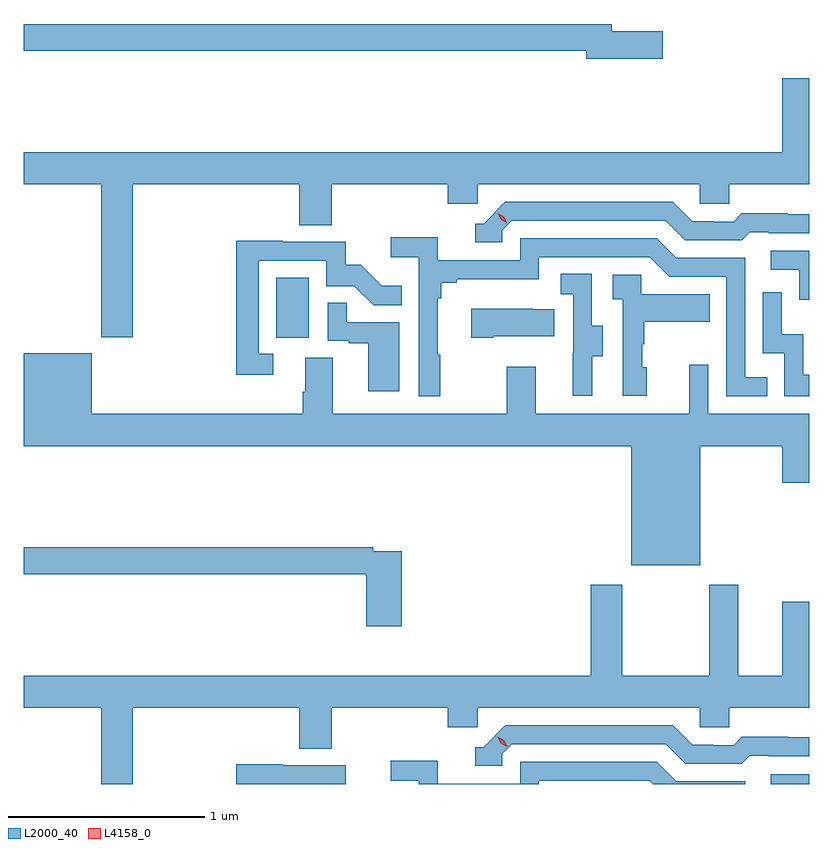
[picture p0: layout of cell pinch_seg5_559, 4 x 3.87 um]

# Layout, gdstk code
import gdstk
lib = gdstk.Library(unit=1e-6, precision=1e-09)
def R(c, l, rs):  # rectangles x0, y0, x1, y1
    for r in rs: c.add(gdstk.rectangle(r[:2], r[2:], *l))
def P(c, l, *ps):  # polygons
    for p in ps: c.add(gdstk.Polygon(p, *l))
L2000_40 = (2000, 40)
L4158_0 = (4158, 0)

pinch_seg5_559 = lib.new_cell('pinch_seg5_559')
R(pinch_seg5_559, L2000_40, [(1004.109,833.728,1004.307,833.778), (1001.594,835.998,1001.758,836.305)])
P(pinch_seg5_559, L2000_40, [(1003.561,837.56),(1003.3,837.56),(1003.3,837.596),(1000.307,837.596),(1000.307,837.46),(1003.172,837.46),(1003.172,837.418),(1003.561,837.418)],
  [(1000.862,836.78),(1001.711,836.78),(1001.711,836.572),(1001.876,836.572),(1001.876,836.78),(1002.467,836.78),(1002.467,836.682),(1002.618,836.682),(1002.618,836.78),(1003.749,836.78),(1003.749,836.682),(1003.899,836.682),(1003.899,836.78),(1004.307,836.78),(1004.307,837.319),(1004.168,837.319),(1004.168,836.944),(1000.307,836.944),(1000.307,836.78),(1000.702,836.78),(1000.702,836.001),(1000.862,836.001)],
  [(1002.744,836.547),(1002.792,836.595),(1003.575,836.595),(1003.674,836.496),(1003.963,836.496),(1004.002,836.535),(1004.101,836.535),(1004.101,836.532),(1004.307,836.532),(1004.307,836.629),(1004.196,836.629),(1004.196,836.632),(1003.963,836.632),(1003.921,836.589),(1003.818,836.589),(1003.818,836.592),(1003.711,836.592),(1003.612,836.691),(1002.759,836.691),(1002.648,836.58),(1002.605,836.58),(1002.605,836.484),(1002.744,836.484)],
  [(1002.427,835.913),(1002.415,835.913),(1002.415,836.201),(1002.434,836.201),(1002.434,836.278),(1002.511,836.278),(1002.511,836.297),(1002.93,836.297),(1002.93,836.409),(1003.494,836.409),(1003.593,836.31),(1003.884,836.31),(1003.884,835.701),(1004.093,835.701),(1004.093,835.797),(1003.98,835.797),(1003.98,836.406),(1003.63,836.406),(1003.531,836.505),(1002.834,836.505),(1002.834,836.394),(1002.416,836.394),(1002.416,836.51),(1002.177,836.51),(1002.177,836.408),(1002.318,836.408),(1002.318,835.701),(1002.427,835.701)],
  [(1001.578,835.917),(1001.505,835.917),(1001.505,836.391),(1001.847,836.391),(1001.847,836.262),(1001.991,836.262),(1002.089,836.164),(1002.233,836.164),(1002.233,836.263),(1002.129,836.263),(1002.022,836.37),(1001.946,836.37),(1001.946,836.487),(1001.627,836.487),(1001.627,836.492),(1001.389,836.492),(1001.389,835.812),(1001.578,835.812)],
  [(1004.307,836.442),(1004.109,836.442),(1004.109,836.346),(1004.256,836.346),(1004.256,836.193),(1004.307,836.193)],
  [(1003.201,835.906),(1003.255,835.906),(1003.255,836.061),(1003.2,836.061),(1003.2,836.324),(1003.041,836.324),(1003.041,836.221),(1003.104,836.221),(1003.104,835.917),(1003.103,835.917),(1003.103,835.704),(1003.201,835.704)],
  [(1003.48,835.848),(1003.455,835.848),(1003.455,835.967),(1003.465,835.967),(1003.465,836.081),(1003.799,836.081),(1003.799,836.221),(1003.452,836.221),(1003.452,836.319),(1003.305,836.319),(1003.305,836.195),(1003.356,836.195),(1003.356,835.704),(1003.48,835.704)],
  [(1004.307,835.81),(1004.276,835.81),(1004.276,836.018),(1004.166,836.018),(1004.166,836.23),(1004.07,836.23),(1004.07,835.92),(1004.178,835.92),(1004.178,835.701),(1004.307,835.701)],
  [(1002.22,836.079),(1001.951,836.079),(1001.951,836.177),(1001.856,836.177),(1001.856,835.983),(1001.963,835.983),(1001.963,835.971),(1002.062,835.971),(1002.062,835.728),(1002.22,835.728)],
  [(1002.697,836.006),(1003.007,836.006),(1003.007,836.143),(1002.899,836.143),(1002.899,836.146),(1002.585,836.146),(1002.585,835.999),(1002.697,835.999)],
  [(1003.75,835.448),(1004.168,835.448),(1004.168,835.26),(1004.307,835.26),(1004.307,835.612),(1003.791,835.612),(1003.791,835.861),(1003.694,835.861),(1003.694,835.612),(1002.913,835.612),(1002.913,835.852),(1002.766,835.852),(1002.766,835.612),(1001.881,835.612),(1001.881,835.898),(1001.741,835.898),(1001.741,835.724),(1001.729,835.724),(1001.729,835.612),(1000.654,835.612),(1000.654,835.921),(1000.307,835.921),(1000.307,835.448),(1003.4,835.448),(1003.4,834.842),(1003.75,834.842)],
  [(1002.233,834.912),(1002.086,834.912),(1002.086,834.932),(1000.307,834.932),(1000.307,834.796),(1002.05,834.796),(1002.05,834.531),(1002.233,834.531)],
  [(1000.307,834.116),(1000.702,834.116),(1000.702,833.728),(1000.862,833.728),(1000.862,834.116),(1001.711,834.116),(1001.711,833.908),(1001.876,833.908),(1001.876,834.116),(1002.467,834.116),(1002.467,834.018),(1002.618,834.018),(1002.618,834.116),(1003.749,834.116),(1003.749,834.018),(1003.899,834.018),(1003.899,834.116),(1004.307,834.116),(1004.307,834.655),(1004.168,834.655),(1004.168,834.28),(1003.945,834.28),(1003.945,834.742),(1003.798,834.742),(1003.798,834.28),(1003.353,834.28),(1003.353,834.742),(1003.193,834.742),(1003.193,834.28),(1000.307,834.28)],
  [(1002.744,833.883),(1002.792,833.931),(1003.575,833.931),(1003.674,833.832),(1003.963,833.832),(1004.002,833.871),(1004.101,833.871),(1004.101,833.868),(1004.307,833.868),(1004.307,833.965),(1004.196,833.965),(1004.196,833.968),(1003.963,833.968),(1003.921,833.925),(1003.818,833.925),(1003.818,833.928),(1003.711,833.928),(1003.612,834.027),(1002.759,834.027),(1002.648,833.916),(1002.605,833.916),(1002.605,833.82),(1002.744,833.82)],
  [(1002.93,833.745),(1003.494,833.745),(1003.511,833.728),(1003.98,833.728),(1003.98,833.742),(1003.63,833.742),(1003.531,833.841),(1002.834,833.841),(1002.834,833.73),(1002.416,833.73),(1002.416,833.846),(1002.177,833.846),(1002.177,833.744),(1002.318,833.744),(1002.318,833.728),(1002.93,833.728)],
  [(1001.946,833.823),(1001.627,833.823),(1001.627,833.828),(1001.389,833.828),(1001.389,833.728),(1001.946,833.728)])
P(pinch_seg5_559, L4158_0, [(1002.767,833.917),(1002.737,833.936),(1002.721,833.969),(1002.721,833.969),(1002.721,833.969),(1002.752,833.95),(1002.768,833.917),(1002.768,833.917)],
  [(1002.769,836.582),(1002.738,836.601),(1002.721,836.633),(1002.721,836.633),(1002.721,836.633),(1002.752,836.614),(1002.769,836.582),(1002.769,836.582)])

lib.write_gds('pinch_seg5_559.gds')
